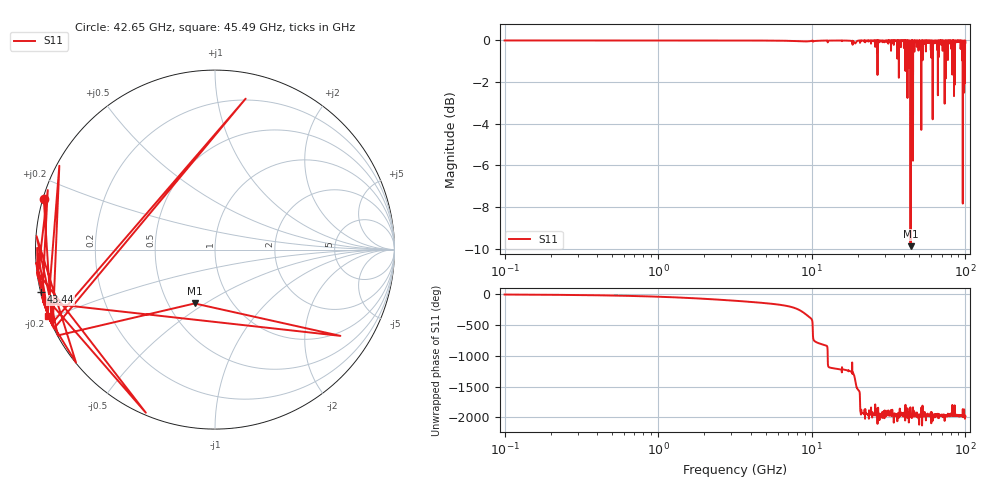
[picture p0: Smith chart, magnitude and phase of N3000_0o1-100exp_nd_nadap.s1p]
! Sonnet Data File
! From: em Version : 18.56
! From Project: N3000_0o1-100exp_nd_nadap
! Data is De-embedded
! Data File Written: 03/09/2023 16:29:52
!< HDATE 03/04/2023 10:23:07
!< MDATE 03/04/2023 10:23:07
# GHZ S MA R 50.00000
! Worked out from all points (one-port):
!   3000 points, 100 MHz to 100 GHz, reference 50 ohm
!   lowest |S11| = -9.9 dB at 43.94 GHz (marker M1), VSWR 1.94, Z = 33.7 - j22.6 ohm
!   |S11| at or under -10 dB: nowhere
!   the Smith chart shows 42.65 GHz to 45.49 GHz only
!   S11 on the Smith chart (normalised r, x): 42.65 GHz: 0.00, +0.14; 43.44 GHz: 0.00, -0.12; 45.49 GHz: 0.00, -0.19
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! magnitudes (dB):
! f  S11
! 100 MHz  0.0
! 237.2 MHz  0.0
! 562.7 MHz  0.0
! 1.335 GHz  0.0
! 3.166 GHz  0.0
! 7.51 GHz  0.0
! 17.81 GHz  0.0
! 42.25 GHz  0.0
! 42.45 GHz  0.0
! 42.65 GHz  -0.1
! 43.44 GHz  0.0
! 43.94 GHz  -9.9
! 44.04 GHz  0.0
! 45.49 GHz  0.0
! 45.59 GHz  -5.8
! 47.19 GHz  0.0
! 47.63 GHz  0.0
! 50.8 GHz  0.0
! 54.56 GHz  0.0
! 61.08 GHz  0.0
! 63.52 GHz  0.0
! 74.29 GHz  -0.1
! 79.06 GHz  0.0
! 82.79 GHz  -0.7
! 89.74 GHz  0.0
! 98.85 GHz  0.0
! 99.54 GHz  -0.1
! 100 GHz  -0.1
